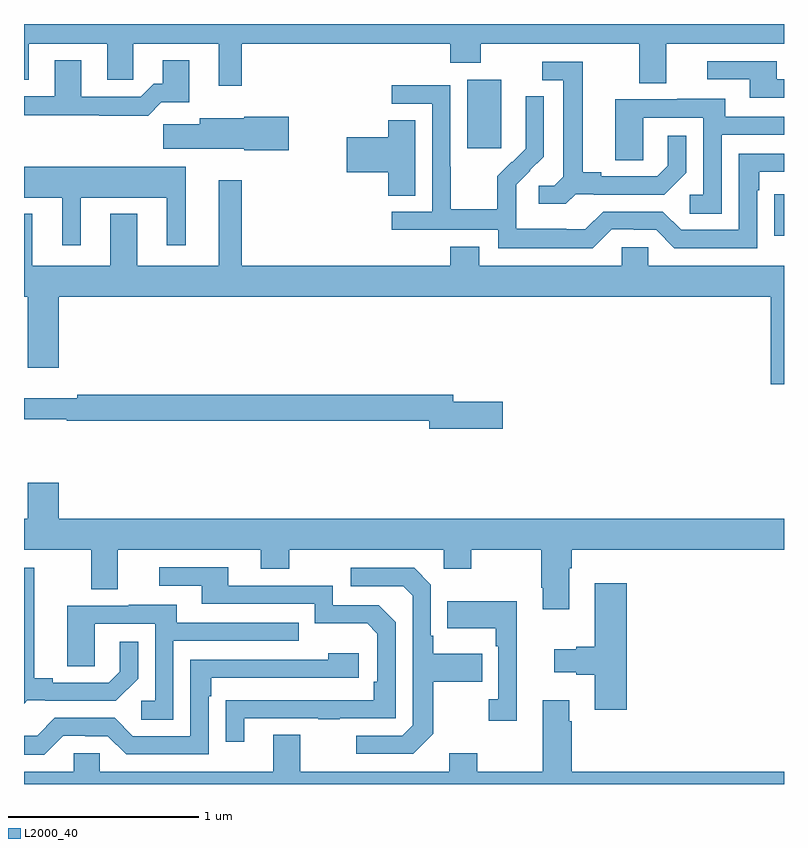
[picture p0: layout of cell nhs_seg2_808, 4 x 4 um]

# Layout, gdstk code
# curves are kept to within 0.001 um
import gdstk
lib = gdstk.Library(unit=1e-6, precision=1e-09)
def R(c, l, rs):  # rectangles x0, y0, x1, y1
    for r in rs: c.add(gdstk.rectangle(r[:2], r[2:], *l))
def P(c, l, *ps):  # polygons
    for p in ps: c.add(gdstk.Polygon(p, *l))
L2000_40 = (2000, 40)

nhs_seg2_808 = lib.new_cell('nhs_seg2_808')
R(nhs_seg2_808, L2000_40, [(156.949,586.686,157,586.904), (155.333,587.145,155.512,587.506)])
P(nhs_seg2_808, L2000_40, [(153,587.506),(153.025,587.506),(153.025,587.696),(153.437,587.696),(153.437,587.506),(153.576,587.506),(153.576,587.696),(154.025,587.696),(154.025,587.475),(154.147,587.475),(154.147,587.696),(155.243,587.696),(155.243,587.597),(155.403,587.597),(155.403,587.696),(156.239,587.696),(156.239,587.488),(156.379,587.488),(156.379,587.696),(157,587.696),(157,587.8),(153,587.8)],
  [(153.722,587.387),(153.871,587.387),(153.871,587.608),(153.731,587.608),(153.731,587.485),(153.682,587.485),(153.615,587.418),(153.301,587.418),(153.301,587.608),(153.161,587.608),(153.161,587.421),(153,587.421),(153,587.32),(153.397,587.32),(153.397,587.318),(153.653,587.318)],
  [(157,587.508),(156.961,587.508),(156.961,587.604),(156.597,587.604),(156.597,587.508),(156.821,587.508),(156.821,587.412),(157,587.412)],
  [(155.904,586.905),(155.998,586.905),(155.998,586.902),(156.37,586.902),(156.486,587.018),(156.486,587.212),(156.389,587.212),(156.389,587.055),(156.332,586.998),(156.037,586.998),(156.037,587.021),(155.941,587.021),(155.941,587.601),(155.727,587.601),(155.727,587.505),(155.837,587.505),(155.837,586.997),(155.79,586.95),(155.709,586.95),(155.709,586.853),(155.852,586.853)],
  [(156.093,586.719),(156.209,586.719),(156.209,586.716),(156.327,586.716),(156.423,586.62),(156.858,586.62),(156.858,586.925),(156.871,586.925),(156.871,587.022),(157,587.022),(157,587.118),(156.762,587.118),(156.762,586.716),(156.459,586.716),(156.363,586.812),(156.048,586.812),(155.955,586.719),(155.855,586.719),(155.855,586.723),(155.592,586.723),(155.592,586.857),(155.59,586.857),(155.59,586.954),(155.736,587.102),(155.736,587.42),(155.64,587.42),(155.64,587.266),(155.642,587.266),(155.642,587.144),(155.571,587.073),(155.568,587.076),(155.491,586.999),(155.491,586.825),(155.247,586.825),(155.247,587.048),(155.244,587.048),(155.244,587.478),(154.935,587.478),(154.935,587.379),(155.148,587.379),(155.148,586.812),(154.935,586.812),(154.935,586.716),(155.496,586.716),(155.496,586.619),(155.993,586.619)],
  [(156.672,587.217),(157,587.217),(157,587.313),(156.691,587.313),(156.691,587.407),(156.437,587.407),(156.437,587.403),(156.113,587.403),(156.113,587.083),(156.258,587.083),(156.258,587.307),(156.576,587.307),(156.576,586.902),(156.504,586.902),(156.504,586.801),(156.672,586.801)],
  [(154.393,587.313),(154.158,587.313),(154.158,587.305),(153.926,587.305),(153.926,587.273),(153.732,587.273),(153.732,587.144),(154.158,587.144),(154.158,587.135),(154.393,587.135)],
  [(155.059,587.294),(154.916,587.294),(154.916,587.204),(154.698,587.204),(154.698,587.021),(154.916,587.021),(154.916,586.897),(155.059,586.897)],
  [(153.298,586.886),(153.752,586.886),(153.752,586.635),(153.85,586.635),(153.85,587.05),(153,587.05),(153,586.886),(153.2,586.886),(153.2,586.635),(153.298,586.635)],
  [(156.929,585.903),(157,585.903),(157,586.528),(156.285,586.528),(156.285,586.626),(156.147,586.626),(156.147,586.528),(155.395,586.528),(155.395,586.627),(155.243,586.627),(155.243,586.528),(154.147,586.528),(154.147,586.978),(154.025,586.978),(154.025,586.528),(153.595,586.528),(153.595,586.801),(153.455,586.801),(153.455,586.528),(153.043,586.528),(153.043,586.801),(153,586.801),(153,586.364),(153.02,586.364),(153.02,585.99),(153.184,585.99),(153.184,586.364),(156.929,586.364)],
  [(155.521,585.812),(155.26,585.812),(155.26,585.848),(153.28,585.848),(153.28,585.829),(153,585.829),(153,585.72),(153.226,585.72),(153.226,585.712),(155.132,585.712),(155.132,585.67),(155.521,585.67)],
  [(155.869,584.936),(155.882,584.936),(155.882,585.032),(157,585.032),(157,585.196),(153.184,585.196),(153.184,585.385),(153.02,585.385),(153.02,585.196),(153,585.196),(153,585.032),(153.353,585.032),(153.353,584.824),(153.493,584.824),(153.493,585.032),(154.247,585.032),(154.247,584.933),(154.395,584.933),(154.395,585.032),(155.208,585.032),(155.208,584.933),(155.355,584.933),(155.355,585.032),(155.722,585.032),(155.722,584.833),(155.729,584.833),(155.729,584.721),(155.869,584.721)],
  [(154.159,584.145),(154.549,584.145),(154.549,584.14),(154.661,584.14),(154.661,584.145),(154.956,584.145),(154.956,584.652),(154.866,584.742),(154.626,584.742),(154.626,584.844),(154.075,584.844),(154.075,584.94),(153.711,584.94),(153.711,584.844),(153.935,584.844),(153.935,584.748),(154.53,584.748),(154.53,584.645),(154.807,584.645),(154.86,584.592),(154.86,584.338),(154.84,584.338),(154.84,584.241),(154.063,584.24),(154.063,584.022),(154.159,584.022)],
  [(153.018,584.241),(153.112,584.241),(153.112,584.238),(153.484,584.238),(153.6,584.354),(153.6,584.548),(153.503,584.548),(153.503,584.391),(153.446,584.334),(153.151,584.334),(153.151,584.357),(153.055,584.357),(153.055,584.937),(153,584.937),(153,584.223)],
  [(155.155,584.065),(155.155,584.338),(155.411,584.338),(155.411,584.485),(155.155,584.485),(155.155,584.581),(155.142,584.581),(155.142,584.85),(155.055,584.937),(154.719,584.937),(154.719,584.841),(154.995,584.841),(155.046,584.79),(155.046,584.109),(154.992,584.055),(154.749,584.055),(154.749,583.959),(155.049,583.959)],
  [(156.173,584.857),(156.005,584.857),(156.005,584.522),(155.906,584.522),(155.906,584.509),(155.79,584.509),(155.79,584.387),(155.906,584.387),(155.906,584.375),(156.005,584.375),(156.005,584.19),(156.173,584.19)],
  [(155.594,584.761),(155.227,584.761),(155.227,584.621),(155.484,584.621),(155.484,584.525),(155.496,584.525),(155.496,584.246),(155.445,584.246),(155.445,584.133),(155.594,584.133)],
  [(153.786,584.553),(154.445,584.553),(154.445,584.649),(153.805,584.649),(153.805,584.743),(153.551,584.743),(153.551,584.739),(153.227,584.739),(153.227,584.419),(153.372,584.419),(153.372,584.643),(153.69,584.643),(153.69,584.238),(153.618,584.238),(153.618,584.137),(153.786,584.137)],
  [(153.207,584.055),(153.323,584.055),(153.323,584.052),(153.441,584.052),(153.537,583.956),(153.972,583.956),(153.972,584.261),(153.985,584.261),(153.985,584.358),(154.762,584.358),(154.762,584.488),(154.601,584.488),(154.601,584.454),(153.876,584.454),(153.876,584.052),(153.573,584.052),(153.477,584.148),(153.162,584.148),(153.069,584.055),(153,584.055),(153,583.955),(153.107,583.955)],
  [(157,583.864),(155.882,583.864),(155.882,584.129),(155.869,584.129),(155.869,584.242),(155.729,584.242),(155.729,583.864),(155.385,583.864),(155.385,583.963),(155.237,583.963),(155.237,583.864),(154.453,583.864),(154.453,584.059),(154.313,584.059),(154.313,583.864),(153.399,583.864),(153.399,583.962),(153.261,583.962),(153.261,583.864),(153,583.864),(153,583.8),(157,583.8)])

lib.write_gds('nhs_seg2_808.gds')
